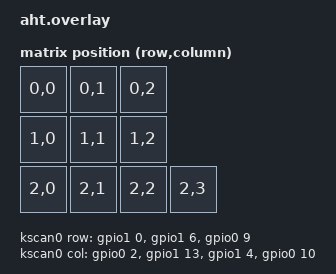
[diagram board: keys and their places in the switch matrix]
/*
 * 10-key numpad shield
 * MCU: nice!nano v2 (Pro Micro footprint compatible)
 */

#include <dt-bindings/zmk/matrix_transform.h>
#include <physical_layouts.dtsi>

/ {
	
	chosen {
		zmk,kscan = &kscan0;
		zmk,physical-layout = &physical_layout0;
	};

	default_transform: matrix_transform {
		compatible = "zmk,matrix-transform";
		columns = <4>;
        rows = <3>;
		map = <
			RC(0,0) RC(0,1) RC(0,2)
			RC(1,0) RC(1,1) RC(1,2)
			RC(2,0) RC(2,1) RC(2,2) RC(2,3)
		>;
	};

	physical_layout0: physical_layout0 {
		compatible = "zmk,physical-layout";
		display-name = "10-Key Layout";
		transform = <&default_transform>;
        kscan = <&kscan0>;
		keys 
            = <&key_physical_attrs 100 100   0   0  0 0 0>
			, <&key_physical_attrs 100 100 100   0  0 0 1>
			, <&key_physical_attrs 100 100 200   0  0 0 2>
			, <&key_physical_attrs 100 100   0 100  0 1 0>
			, <&key_physical_attrs 100 100 100 100  0 1 1>
			, <&key_physical_attrs 100 100 200 100  0 1 2>
			, <&key_physical_attrs 100 100   0 200  0 2 0>
			, <&key_physical_attrs 100 100 100 200  0 2 1>
			, <&key_physical_attrs 100 100 200 200  0 2 2>
			, <&key_physical_attrs 100 100 300 200  0 2 3>
		    ;
	};

	kscan0: kscan {
		compatible = "zmk,kscan-gpio-matrix";
		diode-direction = "col2row";
		debounce-press-ms = <5>;
		debounce-release-ms = <5>;

		row-gpios = <&gpio1 0 (GPIO_ACTIVE_HIGH | GPIO_PULL_DOWN)>,
		            <&gpio1 6 (GPIO_ACTIVE_HIGH | GPIO_PULL_DOWN)>,
		            <&gpio0 9 (GPIO_ACTIVE_HIGH | GPIO_PULL_DOWN)>;

		col-gpios = <&gpio0 2 GPIO_ACTIVE_HIGH>,
		            <&gpio1 13 GPIO_ACTIVE_HIGH>,
		            <&gpio1 4 GPIO_ACTIVE_HIGH>,
		            <&gpio0 10 GPIO_ACTIVE_HIGH>;
	};
};
